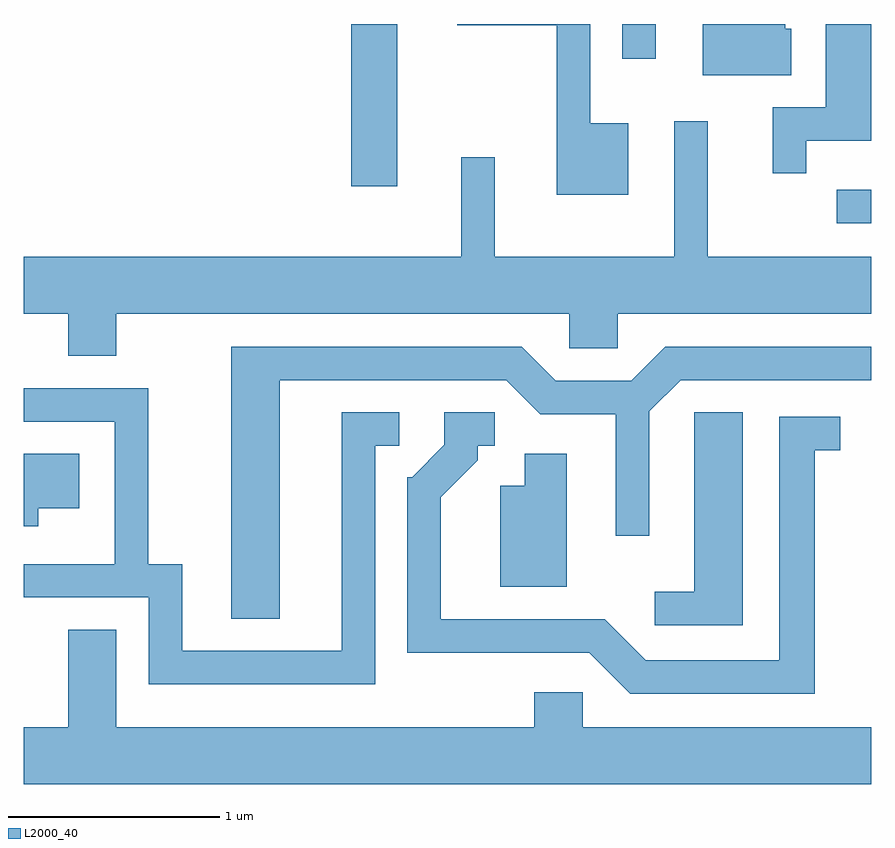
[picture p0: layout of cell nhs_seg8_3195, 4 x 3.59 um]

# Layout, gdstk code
import gdstk
lib = gdstk.Library(unit=1e-6, precision=1e-09)
def R(c, l, rs):  # rectangles x0, y0, x1, y1
    for r in rs: c.add(gdstk.rectangle(r[:2], r[2:], *l))
def P(c, l, *ps):  # polygons
    for p in ps: c.add(gdstk.Polygon(p, *l))
L2000_40 = (2000, 40)

nhs_seg8_3195 = lib.new_cell('nhs_seg8_3195')
R(nhs_seg8_3195, L2000_40, [(283.448,1943.401,283.611,1943.559), (281.156,1943.576,281.374,1944.342), (282.436,1944.178,282.594,1944.342)])
P(nhs_seg8_3195, L2000_40, [(283.234,1944.319),(283.204,1944.319),(283.204,1944.342),(282.816,1944.342),(282.816,1944.101),(283.234,1944.101)],
  [(283.304,1943.791),(283.611,1943.791),(283.611,1944.342),(283.396,1944.342),(283.396,1943.949),(283.146,1943.949),(283.146,1943.638),(283.304,1943.638)],
  [(282.464,1943.874),(282.284,1943.874),(282.284,1944.342),(281.656,1944.342),(281.656,1944.336),(282.126,1944.336),(282.126,1943.536),(282.464,1943.536)],
  [(280.049,1942.976),(282.186,1942.976),(282.186,1942.811),(282.414,1942.811),(282.414,1942.976),(283.611,1942.976),(283.611,1943.244),(282.839,1943.244),(282.839,1943.883),(282.681,1943.883),(282.681,1943.244),(281.834,1943.244),(281.834,1943.713),(281.676,1943.713),(281.676,1943.244),(279.611,1943.244),(279.611,1942.976),(279.821,1942.976),(279.821,1942.776),(280.049,1942.776)],
  [(280.819,1942.661),(281.889,1942.661),(282.049,1942.501),(282.406,1942.501),(282.406,1941.928),(282.564,1941.928),(282.564,1942.514),(282.712,1942.661),(283.611,1942.661),(283.611,1942.819),(282.639,1942.819),(282.479,1942.659),(282.122,1942.659),(281.962,1942.819),(280.591,1942.819),(280.591,1941.536),(280.819,1941.536)],
  [(281.269,1942.351),(281.383,1942.351),(281.383,1942.509),(281.111,1942.509),(281.111,1941.384),(280.359,1941.384),(280.359,1941.794),(280.199,1941.794),(280.199,1942.624),(279.611,1942.624),(279.611,1942.466),(280.041,1942.466),(280.041,1941.794),(279.611,1941.794),(279.611,1941.636),(280.201,1941.636),(280.201,1941.226),(281.269,1941.226)],
  [(283.004,1942.509),(282.776,1942.509),(282.776,1941.664),(282.588,1941.664),(282.588,1941.506),(283.004,1941.506)],
  [(283.344,1942.331),(283.463,1942.331),(283.463,1942.489),(283.176,1942.489),(283.176,1941.339),(282.547,1941.339),(282.352,1941.534),(281.579,1941.534),(281.579,1942.109),(281.754,1942.284),(281.754,1942.351),(281.833,1942.351),(281.833,1942.509),(281.596,1942.509),(281.596,1942.357),(281.444,1942.204),(281.421,1942.204),(281.421,1941.376),(282.279,1941.376),(282.474,1941.181),(283.344,1941.181)],
  [(282.174,1942.314),(281.976,1942.314),(281.976,1942.164),(281.861,1942.164),(281.861,1941.686),(282.174,1941.686)],
  [(279.679,1942.056),(279.874,1942.056),(279.874,1942.314),(279.611,1942.314),(279.611,1941.971),(279.679,1941.971)],
  [(283.611,1941.024),(282.249,1941.024),(282.249,1941.189),(282.021,1941.189),(282.021,1941.024),(280.049,1941.024),(280.049,1941.484),(279.821,1941.484),(279.821,1941.024),(279.611,1941.024),(279.611,1940.756),(283.611,1940.756)])

lib.write_gds('nhs_seg8_3195.gds')
